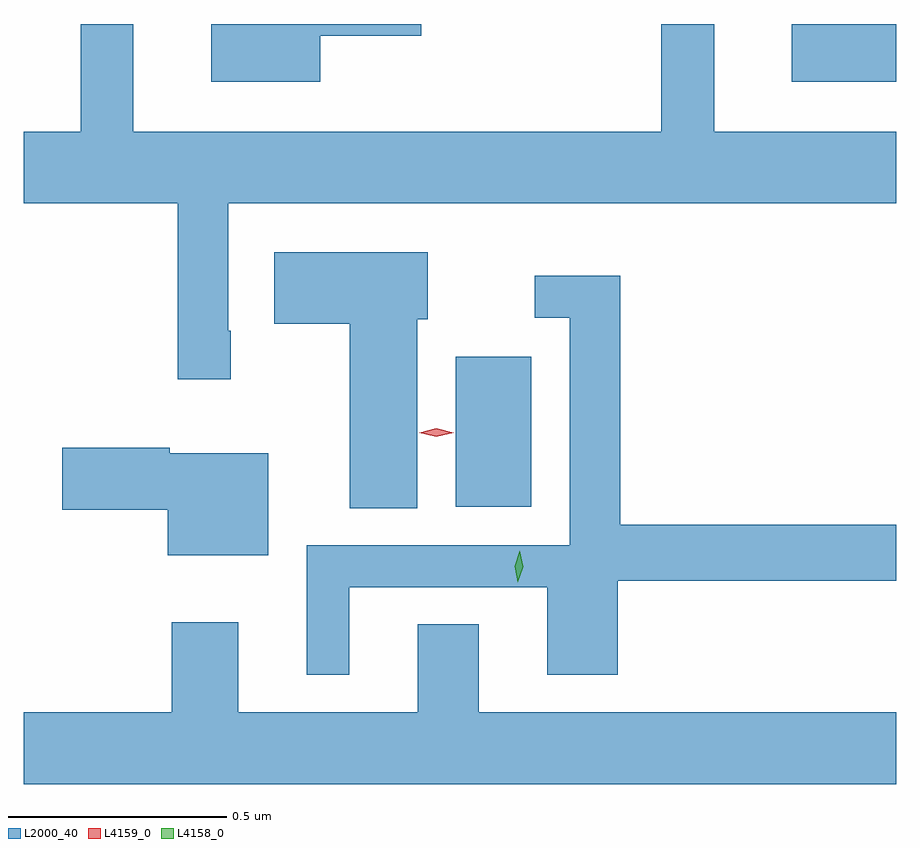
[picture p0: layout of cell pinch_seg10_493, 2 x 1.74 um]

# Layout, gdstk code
import gdstk
lib = gdstk.Library(unit=1e-6, precision=1e-09)
def R(c, l, rs):  # rectangles x0, y0, x1, y1
    for r in rs: c.add(gdstk.rectangle(r[:2], r[2:], *l))
def P(c, l, *ps):  # polygons
    for p in ps: c.add(gdstk.Polygon(p, *l))
L2000_40 = (2000, 40)
L4158_0 = (4158, 0)
L4159_0 = (4159, 0)

pinch_seg10_493 = lib.new_cell('pinch_seg10_493')
R(pinch_seg10_493, L2000_40, [(328.076,1304.948,328.249,1305.292), (328.847,1305.923,329.086,1306.055)])
P(pinch_seg10_493, L2000_40, [(327.56,1305.352),(327.555,1305.352),(327.555,1305.644),(329.086,1305.644),(329.086,1305.808),(328.669,1305.808),(328.669,1306.055),(328.548,1306.055),(328.548,1305.808),(327.337,1305.808),(327.337,1306.055),(327.216,1306.055),(327.216,1305.808),(327.086,1305.808),(327.086,1305.644),(327.439,1305.644),(327.439,1305.24),(327.56,1305.24)],
  [(327.766,1306.028),(327.997,1306.028),(327.997,1306.055),(327.515,1306.055),(327.515,1305.923),(327.766,1305.923)],
  [(327.988,1305.378),(328.012,1305.378),(328.012,1305.532),(327.66,1305.532),(327.66,1305.367),(327.833,1305.367),(327.833,1304.944),(327.988,1304.944)],
  [(327.832,1304.763),(328.286,1304.763),(328.286,1304.562),(328.448,1304.562),(328.448,1304.778),(329.086,1304.778),(329.086,1304.906),(328.454,1304.906),(328.454,1305.478),(328.257,1305.478),(328.257,1305.381),(328.338,1305.381),(328.338,1304.859),(327.734,1304.859),(327.734,1304.562),(327.832,1304.562)],
  [(327.646,1305.07),(327.42,1305.07),(327.42,1305.083),(327.174,1305.083),(327.174,1304.941),(327.416,1304.941),(327.416,1304.837),(327.646,1304.837)],
  [(329.086,1304.476),(328.129,1304.476),(328.129,1304.678),(327.989,1304.678),(327.989,1304.476),(327.577,1304.476),(327.577,1304.683),(327.425,1304.683),(327.425,1304.476),(327.086,1304.476),(327.086,1304.312),(329.086,1304.312)])
P(pinch_seg10_493, L4158_0, [(328.219,1304.775),(328.219,1304.775),(328.211,1304.811),(328.223,1304.847),(328.223,1304.847),(328.223,1304.847),(328.231,1304.81),(328.219,1304.775)])
P(pinch_seg10_493, L4159_0, [(328.032,1305.108),(327.992,1305.117),(327.992,1305.118),(327.992,1305.118),(328.032,1305.128),(328.072,1305.118),(328.072,1305.118),(328.072,1305.117)])

lib.write_gds('pinch_seg10_493.gds')
